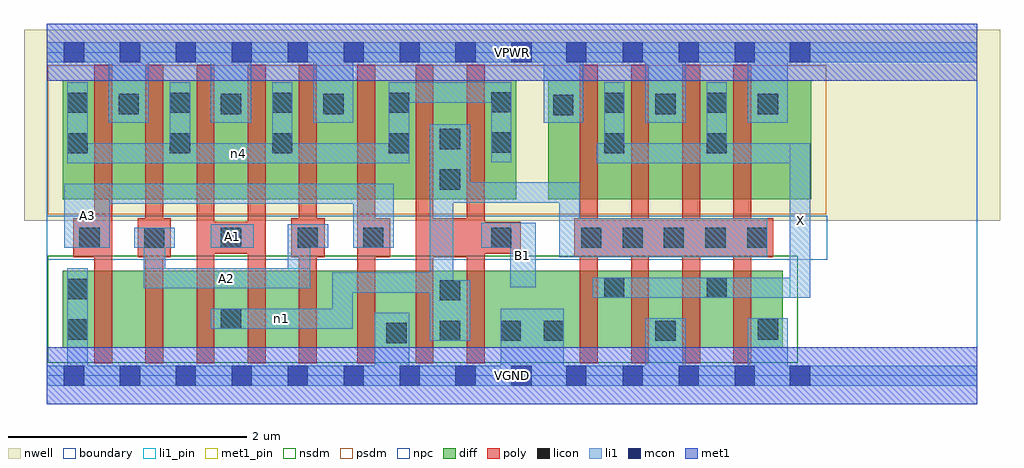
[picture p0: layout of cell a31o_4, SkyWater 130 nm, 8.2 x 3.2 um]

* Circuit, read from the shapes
.subckt a31o_4 A1 A2 A3 B1 VGND VPWR X n1 n4
XM1 n2 A3 VGND VSUBS sky130_fd_pr__nfet_01v8 w=0.65 l=0.15
XM2 n3 A2 n2 VSUBS sky130_fd_pr__nfet_01v8 w=0.65 l=0.15
XM3 n1 A1 n3 VSUBS sky130_fd_pr__nfet_01v8 w=0.65 l=0.15
XM4 n5 A1 n1 VSUBS sky130_fd_pr__nfet_01v8 w=0.65 l=0.15
XM5 n6 A2 n5 VSUBS sky130_fd_pr__nfet_01v8 w=0.65 l=0.15
XM6 VGND A3 n6 VSUBS sky130_fd_pr__nfet_01v8 w=0.65 l=0.15
XM7 n1 B1 VGND VSUBS sky130_fd_pr__nfet_01v8 w=0.65 l=0.15 m=2
XM8 X n1 VGND VSUBS sky130_fd_pr__nfet_01v8 w=0.65 l=0.15 m=4
XM9 VPWR A3 n4 n7 sky130_fd_pr__pfet_01v8 w=1 l=0.15 m=2
XM10 n4 A2 VPWR n7 sky130_fd_pr__pfet_01v8 w=1 l=0.15 m=2
XM11 VPWR A1 n4 n7 sky130_fd_pr__pfet_01v8 w=1 l=0.15 m=2
XM12 n1 B1 n4 n7 sky130_fd_pr__pfet_01v8 w=1 l=0.15 m=2
XM13 X n1 VPWR n7 sky130_fd_pr__pfet_01v8 w=1 l=0.15 m=4
.ends

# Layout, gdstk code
import gdstk
lib = gdstk.Library(unit=1e-6, precision=1e-09)
def R(c, l, rs):  # rectangles x0, y0, x1, y1
    for r in rs: c.add(gdstk.rectangle(r[:2], r[2:], *l))
def A(c, l, x, y, w, h, nx, ny, dx, dy):  # array of equal rectangles
    R(c, l, [(x+i*dx, y+j*dy, x+i*dx+w, y+j*dy+h) for i in range(nx) for j in range(ny)])
nwell = (64, 20)
diff = (65, 20)
poly = (66, 20)
licon = (66, 44)
li1_pin = (67, 16)
li1 = (67, 20)
mcon = (67, 44)
met1_pin = (68, 16)
met1 = (68, 20)
nsdm = (93, 44)
psdm = (94, 20)
npc = (95, 20)
boundary = (235, 4)

a31o_4 = lib.new_cell('a31o_4')
R(a31o_4, nwell, [(-0.19,1.305,8.01,2.91), (0,1.305,7.82,2.91)])
R(a31o_4, diff, [(0.135,0.235,6.185,0.885), (0.135,1.485,3.945,2.485), (4.215,1.485,6.425,2.485)])
A(a31o_4, poly, 0.4, 0.105, 0.15, 2.51, 5, 1, 0.43, 0)
A(a31o_4, poly, 4.48, 0.105, 0.15, 2.51, 4, 1, 0.43, 0)
R(a31o_4, poly, [(2.61,0.105,2.76,2.615), (3.1,0.105,3.25,2.615), (3.53,0.105,3.68,2.615), (0.225,0.995,0.55,1.325), (0.765,0.995,1.045,1.325), (2.055,0.995,2.335,1.325), (2.61,0.995,2.885,1.325), (3.1,0.995,3.68,1.325), (4.435,0.995,6.105,1.325), (1.26,1.025,1.84,1.295), (3.1,1.025,3.985,1.295)])
A(a31o_4, licon, 0.82, 1.075, 0.17, 0.17, 3, 1, 0.645, 0)
A(a31o_4, licon, 5.185, 1.075, 0.17, 0.17, 3, 1, 0.35, 0)
A(a31o_4, licon, 0.175, 1.87, 0.17, 0.17, 3, 2, 0.86, 0.34)
A(a31o_4, licon, 0.605, 2.2, 0.17, 0.17, 3, 1, 0.86, 0)
R(a31o_4, licon, [(2.855,0.275,3.025,0.445), (3.305,0.295,3.475,0.465), (3.815,0.295,3.985,0.465), (4.175,0.295,4.345,0.465), (5.115,0.295,5.285,0.465), (0.175,0.305,0.345,0.475), (5.975,0.305,6.145,0.475), (1.465,0.395,1.635,0.565), (3.305,0.635,3.475,0.805), (0.175,0.645,0.345,0.815), (4.685,0.655,4.855,0.825), (5.545,0.655,5.715,0.825), (0.275,1.075,0.445,1.245), (2.66,1.075,2.83,1.245), (3.735,1.075,3.905,1.245), (4.49,1.075,4.66,1.245), (4.84,1.075,5.01,1.245), (3.305,1.565,3.475,1.735), (2.875,1.87,3.045,2.04), (4.685,1.87,4.855,2.04), (5.545,1.87,5.715,2.04), (3.735,1.875,3.905,2.045), (3.305,1.905,3.475,2.075), (4.255,2.19,4.425,2.36), (5.115,2.2,5.285,2.37), (5.975,2.2,6.145,2.37), (2.875,2.21,3.045,2.38), (4.685,2.21,4.855,2.38), (5.545,2.21,5.715,2.38), (3.735,2.215,3.905,2.385)])
R(a31o_4, li1_pin, [(6.245,0.655,6.415,1.955), (0.815,0.735,2.215,0.905), (3.895,0.745,4.11,1.285), (0.15,1.075,0.53,1.615), (1.38,1.075,1.74,1.275)])
A(a31o_4, li1, 0.175, 1.785, 0.17, 0.68, 3, 1, 0.86, 0)
R(a31o_4, li1, [(0,-0.085,7.82,0.085), (0.175,-0.085,0.345,0.905), (2.755,-0.085,3.045,0.53), (3.815,-0.085,4.345,0.565), (5.03,-0.085,5.37,0.485), (5.89,-0.085,6.225,0.485), (3.22,0.295,3.415,2.115), (3.22,0.295,3.56,0.805), (1.38,0.395,2.57,0.565), (2.4,0.395,2.57,0.87), (4.59,0.655,6.415,0.825), (6.245,0.655,6.415,1.955), (2.4,0.7,3.415,0.87), (0.815,0.735,2.215,0.905), (0.815,0.735,0.995,1.245), (2.025,0.735,2.215,1.275), (3.895,0.745,4.11,1.285), (4.305,0.995,6.055,1.325), (4.305,0.995,4.48,1.625), (0.15,1.075,0.53,1.615), (0.735,1.075,1.075,1.245), (1.38,1.075,1.74,1.275), (2.025,1.075,2.365,1.275), (2.575,1.075,2.915,1.615), (3.65,1.075,4.11,1.285), (0.15,1.445,2.915,1.615), (3.22,1.455,4.48,1.625), (3.22,1.455,3.56,2.115), (0.175,1.785,3.045,1.955), (2.875,1.785,3.045,2.465), (4.62,1.785,6.415,1.955), (4.685,1.785,4.855,2.465), (5.545,1.785,5.715,2.465), (3.735,1.795,3.905,2.465), (0.52,2.125,0.86,2.805), (1.38,2.125,1.72,2.805), (2.24,2.125,2.575,2.805), (4.175,2.125,4.51,2.805), (5.03,2.125,5.37,2.805), (5.89,2.125,6.225,2.805), (2.875,2.295,3.905,2.465), (0,2.635,7.82,2.805)])
A(a31o_4, mcon, 0.145, -0.085, 0.17, 0.17, 9, 2, 0.47, 2.72)
A(a31o_4, mcon, 4.84, -0.085, 0.17, 0.17, 3, 2, 0.47, 2.72)
R(a31o_4, mcon, [(4.365,-0.085,4.535,0.085), (6.245,-0.085,6.415,0.085), (4.365,2.635,4.535,2.805), (6.245,2.635,6.415,2.805)])
R(a31o_4, met1_pin, [(0,-0.24,7.82,0.24), (0,2.48,7.82,2.96)])
R(a31o_4, met1, [(0,-0.24,7.82,0.24), (0,2.48,7.82,2.96)])
R(a31o_4, nsdm, [(0.01,0.11,6.31,1.01)])
R(a31o_4, psdm, [(0.01,1.36,6.55,2.61)])
R(a31o_4, npc, [(0,0.975,6.56,1.345)])
R(a31o_4, boundary, [(0,0,7.82,2.72)])
a31o_4.add(gdstk.Label('A1', (1.56,1.175), layer=67, texttype=5))
a31o_4.add(gdstk.Label('A2', (1.515,0.82), layer=67, texttype=5))
a31o_4.add(gdstk.Label('A3', (0.34,1.345), layer=67, texttype=5))
a31o_4.add(gdstk.Label('B1', (4.002,1.015), layer=67, texttype=5))
a31o_4.add(gdstk.Label('X', (6.33,1.305), layer=67, texttype=5))
a31o_4.add(gdstk.Label('n1', (1.975,0.48), layer=67, texttype=5))
a31o_4.add(gdstk.Label('n4', (1.61,1.87), layer=67, texttype=5))
a31o_4.add(gdstk.Label('VPWR', (3.91,2.72), layer=68, texttype=5))
a31o_4.add(gdstk.Label('VGND', (3.91,0), layer=68, texttype=5))
a31o_4.add(gdstk.Label('A1', (1.56,1.175), layer=67, texttype=16))
a31o_4.add(gdstk.Label('A2', (1.515,0.82), layer=67, texttype=16))
a31o_4.add(gdstk.Label('A3', (0.34,1.345), layer=67, texttype=16))
a31o_4.add(gdstk.Label('B1', (4.002,1.015), layer=67, texttype=16))
a31o_4.add(gdstk.Label('X', (6.33,1.305), layer=67, texttype=16))
a31o_4.add(gdstk.Label('VPWR', (3.91,2.72), layer=68, texttype=16))
a31o_4.add(gdstk.Label('VGND', (3.91,0), layer=68, texttype=16))

lib.write_gds('a31o_4.gds')
